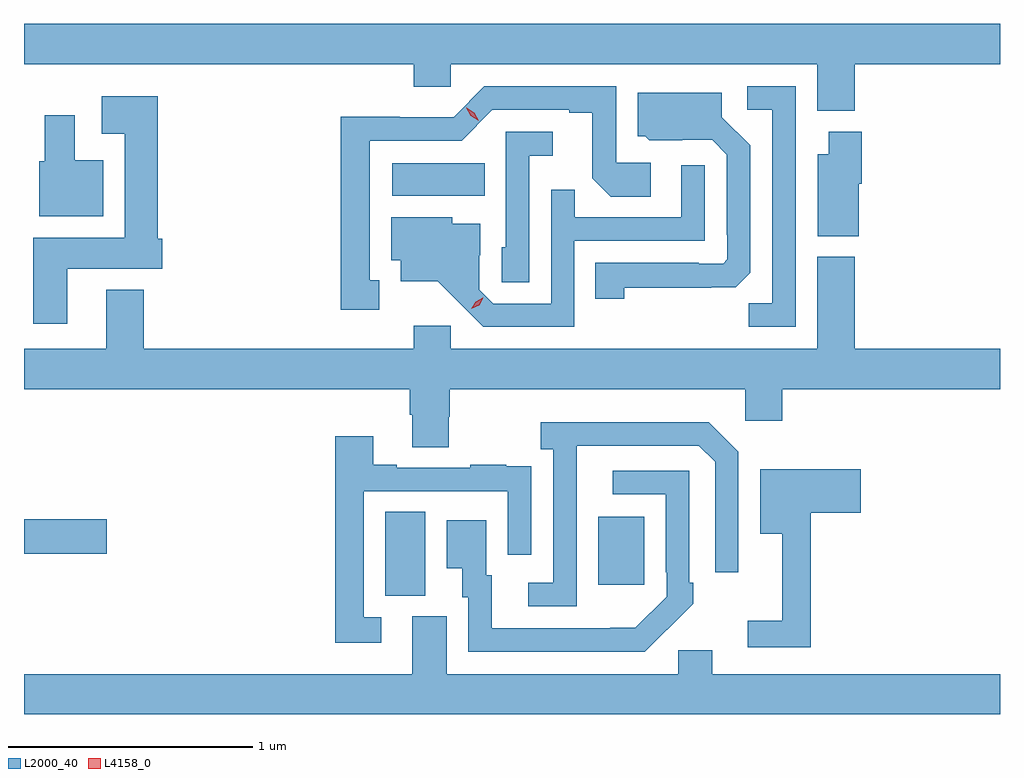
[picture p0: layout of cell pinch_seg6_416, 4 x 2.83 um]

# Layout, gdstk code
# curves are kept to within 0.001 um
import gdstk
lib = gdstk.Library(unit=1e-6, precision=1e-09)
def R(c, l, rs):  # rectangles x0, y0, x1, y1
    for r in rs: c.add(gdstk.rectangle(r[:2], r[2:], *l))
def P(c, l, *ps):  # polygons
    for p in ps: c.add(gdstk.Polygon(p, *l))
L2000_40 = (2000, 40)
L4158_0 = (4158, 0)

pinch_seg6_416 = lib.new_cell('pinch_seg6_416')
R(pinch_seg6_416, L2000_40, [(689.906,934.501,690.07,934.844), (690.779,934.545,690.967,934.825), (688.425,934.672,688.765,934.814), (689.934,936.14,690.314,936.274)])
P(pinch_seg6_416, L2000_40, [(691.829,936.68),(692.425,936.68),(692.425,936.844),(688.425,936.844),(688.425,936.68),(690.023,936.68),(690.023,936.587),(690.174,936.587),(690.174,936.68),(691.676,936.68),(691.676,936.488),(691.829,936.488)],
  [(691.587,936.588),(691.389,936.588),(691.389,936.492),(691.491,936.492),(691.491,935.699),(691.396,935.699),(691.396,935.604),(691.587,935.604)],
  [(689.881,935.793),(689.842,935.793),(689.842,936.366),(690.219,936.366),(690.345,936.492),(690.659,936.492),(690.659,936.48),(690.753,936.48),(690.753,936.212),(690.829,936.136),(690.994,936.136),(690.994,936.276),(690.852,936.276),(690.852,936.588),(690.312,936.588),(690.186,936.462),(689.964,936.462),(689.964,936.464),(689.724,936.464),(689.724,935.673),(689.881,935.673)],
  [(690.885,935.764),(691.342,935.765),(691.401,935.824),(691.401,936.346),(691.285,936.462),(691.285,936.562),(690.941,936.562),(690.941,936.384),(690.972,936.384),(690.988,936.368),(691.245,936.369),(691.305,936.309),(691.305,935.98),(691.308,935.98),(691.308,935.88),(691.29,935.862),(691.19,935.862),(691.19,935.865),(690.766,935.865),(690.766,935.718),(690.885,935.718)],
  [(688.603,935.84),(688.991,935.84),(688.991,935.964),(688.973,935.964),(688.973,936.547),(688.743,936.547),(688.743,936.395),(688.838,936.395),(688.838,935.968),(688.463,935.968),(688.463,935.616),(688.603,935.616)],
  [(688.75,936.286),(688.633,936.286),(688.633,936.469),(688.511,936.469),(688.511,936.282),(688.487,936.282),(688.487,936.056),(688.75,936.056)],
  [(691.846,936.189),(691.859,936.189),(691.859,936.403),(691.724,936.403),(691.724,936.31),(691.679,936.31),(691.679,935.975),(691.846,935.975)],
  [(690.495,936.305),(690.592,936.305),(690.592,936.402),(690.399,936.402),(690.399,935.928),(690.384,935.928),(690.384,935.785),(690.495,935.785)],
  [(690.681,935.955),(691.215,935.955),(691.215,936.265),(691.119,936.265),(691.119,936.051),(690.683,936.051),(690.683,936.164),(690.585,936.164),(690.585,935.697),(690.348,935.697),(690.291,935.754),(690.291,935.896),(690.295,935.896),(690.295,936.025),(690.18,936.025),(690.18,936.052),(689.93,936.052),(689.93,935.876),(689.969,935.876),(689.969,935.789),(690.121,935.789),(690.308,935.604),(690.681,935.604)],
  [(690.165,935.235),(690.17,935.235),(690.17,935.348),(691.38,935.348),(691.38,935.217),(691.532,935.217),(691.532,935.348),(692.425,935.348),(692.425,935.512),(691.829,935.512),(691.829,935.89),(691.676,935.89),(691.676,935.512),(690.174,935.512),(690.174,935.608),(690.023,935.608),(690.023,935.512),(688.916,935.512),(688.916,935.755),(688.763,935.755),(688.763,935.512),(688.425,935.512),(688.425,935.348),(690.005,935.348),(690.005,935.242),(690.017,935.242),(690.017,935.11),(690.165,935.11)],
  [(690.69,935.115),(691.191,935.115),(691.257,935.049),(691.257,934.596),(691.353,934.596),(691.353,935.091),(691.232,935.212),(690.543,935.212),(690.543,935.102),(690.594,935.102),(690.594,934.554),(690.492,934.554),(690.492,934.458),(690.69,934.458)],
  [(689.89,934.413),(689.817,934.413),(689.817,934.929),(690.408,934.929),(690.408,934.668),(690.504,934.668),(690.504,934.922),(690.503,934.922),(690.503,935.031),(690.401,935.031),(690.401,935.038),(690.253,935.038),(690.253,935.025),(689.953,935.025),(689.953,935.038),(689.857,935.038),(689.857,935.155),(689.701,935.155),(689.701,934.308),(689.89,934.308)],
  [(691.649,934.841),(691.855,934.841),(691.855,935.019),(691.442,935.019),(691.442,934.754),(691.532,934.754),(691.532,934.399),(691.392,934.399),(691.392,934.29),(691.649,934.29)],
  [(691.061,934.363),(691.062,934.362),(691.167,934.467),(691.167,934.555),(691.152,934.555),(691.152,935.013),(690.837,935.013),(690.837,934.917),(691.056,934.917),(691.056,934.597),(691.059,934.597),(691.059,934.497),(690.931,934.369),(690.343,934.368),(690.343,934.584),(690.319,934.584),(690.319,934.81),(690.158,934.81),(690.158,934.613),(690.221,934.613),(690.221,934.494),(690.246,934.494),(690.246,934.272),(690.97,934.272)],
  [(692.425,934.18),(691.246,934.18),(691.246,934.278),(691.107,934.278),(691.107,934.18),(690.157,934.18),(690.157,934.416),(690.017,934.416),(690.017,934.18),(688.425,934.18),(688.425,934.016),(692.425,934.016)])
P(pinch_seg6_416, L4158_0, [(690.288,936.448),(690.256,936.467),(690.238,936.5),(690.238,936.5),(690.239,936.5),(690.27,936.481),(690.288,936.448),(690.288,936.448)],
  [(690.259,935.676),(690.259,935.676),(690.276,935.706),(690.306,935.722),(690.307,935.722),(690.307,935.722),(690.29,935.692),(690.259,935.676)])

lib.write_gds('pinch_seg6_416.gds')
